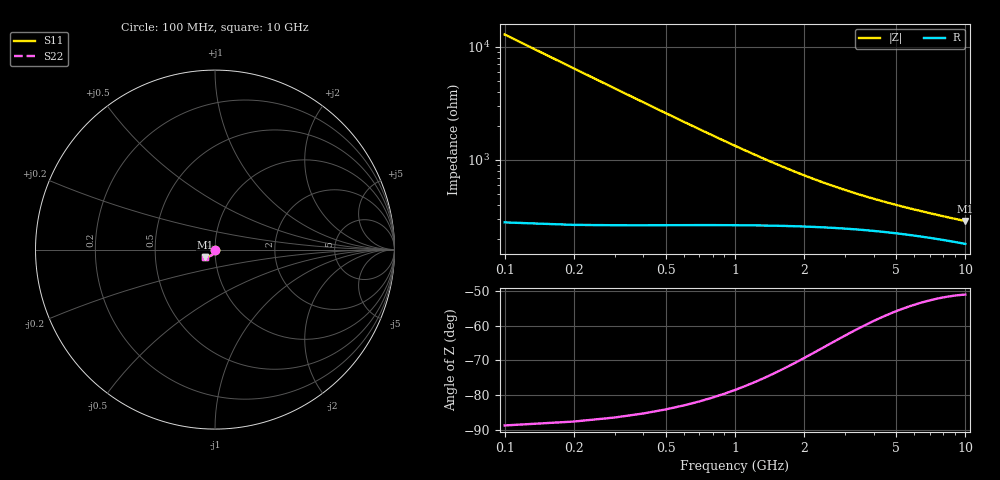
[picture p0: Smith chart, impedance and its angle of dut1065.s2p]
! Touchstone file exported from HFSS 2024.1.0
!  File:  C:/UserFiles/LocalFiles/RDL_TSV_Batchsim/temp_TSV1_1065_1780063898.aedt
!  Generated:  10:15:39 PM May 29, 2026
!  Design:  TSV1
!  Project:  temp_TSV1_1065_1780063898
!  Setup:  Setup1
!  Solution:  Sweep
! Variables:
!  dtsv = 14.98um
!  hbump = 3um
!  htsv = 67.66um
!  lrdl = 252.1521522um
!  p = 40
!  p1 = 40.29um
!  t = 500um
!  trdl = 3um
!  wrdl = 24.89489489um
# GHz S MA R 50.000000
! Terminal data exported
! Port[1] = TSV22_T1
! Port[2] = TSV22_T2
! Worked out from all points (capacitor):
!   100 points, 100 MHz to 10 GHz, reference 50 ohm
!   read as one part in shunt: C = 124 fF near 100 MHz
!   lowest |Z| = 289 ohm at 10 GHz (marker M1)
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0.1  0.001699 -88.8  0.9999 -0.1  0.9999 -0.1  0.001699 -88.8
! Gamma 0 0 0 0
! Port Impedance 50 0 50 0
0.2  0.003391 -91.5  0.9997 -0.3  0.9997 -0.3  0.003391 -91.5
0.3  0.005077 -93.4  0.9995 -0.4  0.9995 -0.4  0.005077 -93.4
0.4  0.006751 -95.1  0.9992 -0.5  0.9992 -0.5  0.006751 -95.1
0.5  0.008411 -96.6  0.9989 -0.6  0.9989 -0.6  0.008411 -96.6
0.6  0.01005 -98.1  0.9984 -0.7  0.9984 -0.7  0.01005 -98.1
0.7  0.01167 -99.5  0.9979 -0.9  0.9979 -0.9  0.01167 -99.5
0.8  0.01327 -100.9  0.9973 -1.0  0.9973 -1.0  0.01327 -100.9
0.9  0.01483 -102.2  0.9967 -1.1  0.9967 -1.1  0.01483 -102.2
1.1  0.01787 -104.8  0.9952 -1.3  0.9952 -1.3  0.01787 -104.8
1.4  0.02217 -108.5  0.9928 -1.6  0.9928 -1.6  0.02217 -108.5
1.6  0.02485 -110.8  0.991 -1.7  0.991 -1.7  0.02485 -110.8
1.8  0.02737 -112.9  0.9892 -1.9  0.9892 -1.9  0.02737 -112.9
2.1  0.03087 -115.9  0.9864 -2.1  0.9864 -2.1  0.03087 -115.9
2.5  0.03502 -119.4  0.9828 -2.4  0.9828 -2.4  0.03502 -119.4
2.9  0.03865 -122.5  0.9793 -2.6  0.9793 -2.6  0.03865 -122.5
3.4  0.04257 -125.8  0.9753 -2.8  0.9753 -2.8  0.04257 -125.8
4.2  0.04773 -129.9  0.9697 -3.2  0.9697 -3.2  0.04773 -129.9
5.1  0.05239 -133.5  0.9643 -3.5  0.9643 -3.5  0.05239 -133.5
6.7  0.05878 -137.9  0.9568 -4.0  0.9568 -4.0  0.05878 -137.9
8.4  0.06394 -141.1  0.9509 -4.4  0.9509 -4.4  0.06394 -141.1
10  0.06776 -143.3  0.9466 -4.9  0.9466 -4.9  0.06776 -143.3
